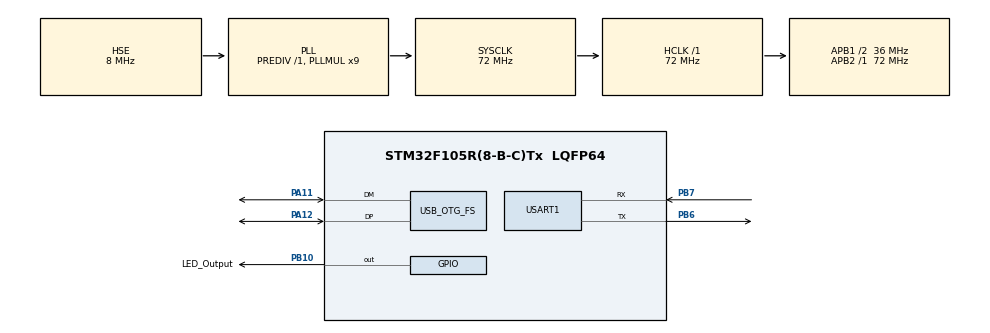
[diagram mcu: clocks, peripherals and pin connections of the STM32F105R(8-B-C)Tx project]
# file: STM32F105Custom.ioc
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Mcu.Family=STM32F1
Mcu.Name=STM32F105R(8-B-C)Tx
Mcu.Package=LQFP64
NVIC.OTG_FS_IRQn=true\:0\:0\:false\:false\:true\:true
NVIC.PriorityGroup=NVIC_PRIORITYGROUP_4
PA11.Mode=Device_Only
PA11.Signal=USB_OTG_FS_DM
PA12.Mode=Device_Only
PA12.Signal=USB_OTG_FS_DP
PB10.GPIO_Label=LED_Output
PB10.Signal=GPIO_Output
PB6.Mode=Asynchronous
PB6.Signal=USART1_TX
PB7.GPIO_PuPd=GPIO_PULLUP
PB7.Mode=Asynchronous
PB7.Signal=USART1_RX
PD0-OSC_IN.Mode=HSE-External-Oscillator
PD0-OSC_IN.Signal=RCC_OSC_IN
PD1-OSC_OUT.Mode=HSE-External-Oscillator
PD1-OSC_OUT.Signal=RCC_OSC_OUT
ProjectManager.HeapSize=0x200
ProjectManager.StackSize=0x400
ProjectManager.TargetToolchain=SW4STM32
RCC.AHBFreq_Value=72000000
RCC.APB1CLKDivider=RCC_HCLK_DIV2
RCC.APB1Freq_Value=36000000
RCC.APB1TimFreq_Value=72000000
RCC.APB2Freq_Value=72000000
RCC.APB2TimFreq_Value=72000000
RCC.HCLKFreq_Value=72000000
RCC.PLLMUL=RCC_PLL_MUL9
RCC.SYSCLKFreq_VALUE=72000000
RCC.SYSCLKSource=RCC_SYSCLKSOURCE_PLLCLK
RCC.USBFreq_Value=48000000
USART1.VirtualMode=VM_ASYNC
USB_OTG_FS.VirtualMode=Device_Only
VP_SYS_VS_ND.Mode=No_Debug
board=custom

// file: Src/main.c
/**
  ******************************************************************************
  * @file           : main.c
  * @brief          : Main program body
  ******************************************************************************
  ** This notice applies to any and all portions of this file
  * that are not between comment pairs USER CODE BEGIN and
  * USER CODE END. Other portions of this file, whether
  * inserted by the user or by software development tools
  * are owned by their respective copyright owners.
  *
  * COPYRIGHT(c) 2018 STMicroelectronics
  *
  * Redistribution and use in source and binary forms, with or without modification,
  * are permitted provided that the following conditions are met:
  *   1. Redistributions of source code must retain the above copyright notice,
  *      this list of conditions and the following disclaimer.
  *   2. Redistributions in binary form must reproduce the above copyright notice,
  *      this list of conditions and the following disclaimer in the documentation
  *      and/or other materials provided with the distribution.
  *   3. Neither the name of STMicroelectronics nor the names of its contributors
  *      may be used to endorse or promote products derived from this software
  *      without specific prior written permission.
  *
  * THIS SOFTWARE IS PROVIDED BY THE COPYRIGHT HOLDERS AND CONTRIBUTORS "AS IS"
  * AND ANY EXPRESS OR IMPLIED WARRANTIES, INCLUDING, BUT NOT LIMITED TO, THE
  * IMPLIED WARRANTIES OF MERCHANTABILITY AND FITNESS FOR A PARTICULAR PURPOSE ARE
  * DISCLAIMED. IN NO EVENT SHALL THE COPYRIGHT HOLDER OR CONTRIBUTORS BE LIABLE
  * FOR ANY DIRECT, INDIRECT, INCIDENTAL, SPECIAL, EXEMPLARY, OR CONSEQUENTIAL
  * DAMAGES (INCLUDING, BUT NOT LIMITED TO, PROCUREMENT OF SUBSTITUTE GOODS OR
  * SERVICES; LOSS OF USE, DATA, OR PROFITS; OR BUSINESS INTERRUPTION) HOWEVER
  * CAUSED AND ON ANY THEORY OF LIABILITY, WHETHER IN CONTRACT, STRICT LIABILITY,
  * OR TORT (INCLUDING NEGLIGENCE OR OTHERWISE) ARISING IN ANY WAY OUT OF THE USE
  * OF THIS SOFTWARE, EVEN IF ADVISED OF THE POSSIBILITY OF SUCH DAMAGE.
  *
  ******************************************************************************
  */
#include "main.h"
#include "stm32f1xx_hal.h"

/* USER CODE BEGIN Includes */
#include "usbd_def.h"
#include "usbd_desc.h"
#include "usbd_custom.h"
#include "usbd_conf.h"

/* USER CODE END Includes */

UART_HandleTypeDef huart1;

PCD_HandleTypeDef hpcd_USB_OTG_FS;

/* USER CODE BEGIN PV */
/* USB Device Core handle declaration. */
USBD_HandleTypeDef hUsbDeviceFS;
/* USER CODE END PV */

void SystemClock_Config(void);
static void MX_GPIO_Init(void);
static void MX_USB_OTG_FS_PCD_Init(void);
static void MX_USART1_UART_Init(void);

/* USER CODE BEGIN PFP */
/* Private function prototypes -----------------------------------------------*/

/* USER CODE END PFP */

int main(void)
{

  /* MCU Configuration----------------------------------------------------------*/

  /* Reset of all peripherals, Initializes the Flash interface and the Systick. */
  HAL_Init();

  /* Configure the system clock */
  SystemClock_Config();

  /* Initialize all configured peripherals */
  MX_GPIO_Init();
  MX_USART1_UART_Init();
  /* USER CODE BEGIN 2 */
  USBD_Init(&hUsbDeviceFS, &FS_Desc, DEVICE_FS);
  USBD_RegisterClass(&hUsbDeviceFS, &USBD_CLASS_VENDOR);
  USBD_Start(&hUsbDeviceFS);
  /* USER CODE END 2 */

  /* Infinite loop */
  while (1)
  {

  /* USER CODE BEGIN 3 */
#if 0
	  for (int i = 5; i < 20;) {
		  i++;
		  int delay_val = 2000/i;
		  for (int j = 0; j < i; j++) {
			  HAL_GPIO_WritePin(LED_Output_GPIO_Port, LED_Output_Pin, 1);
			  HAL_Delay(delay_val);
			  HAL_GPIO_WritePin(LED_Output_GPIO_Port, LED_Output_Pin, 0);
			  HAL_Delay(delay_val);
		  }
	  }
#endif
  }
  /* USER CODE END 3 */

}

void SystemClock_Config(void)
{

  RCC_OscInitTypeDef RCC_OscInitStruct;
  RCC_ClkInitTypeDef RCC_ClkInitStruct;
  RCC_PeriphCLKInitTypeDef PeriphClkInit;

    /**Initializes the CPU, AHB and APB busses clocks
    */
  RCC_OscInitStruct.OscillatorType = RCC_OSCILLATORTYPE_HSE;
  RCC_OscInitStruct.HSEState = RCC_HSE_ON;
  RCC_OscInitStruct.HSEPredivValue = RCC_HSE_PREDIV_DIV1;
  RCC_OscInitStruct.HSIState = RCC_HSI_ON;
  RCC_OscInitStruct.Prediv1Source = RCC_PREDIV1_SOURCE_HSE;
  RCC_OscInitStruct.PLL.PLLState = RCC_PLL_ON;
  RCC_OscInitStruct.PLL.PLLSource = RCC_PLLSOURCE_HSE;
  RCC_OscInitStruct.PLL.PLLMUL = RCC_PLL_MUL9;
  RCC_OscInitStruct.PLL2.PLL2State = RCC_PLL_NONE;
  if (HAL_RCC_OscConfig(&RCC_OscInitStruct) != HAL_OK)
  {
    _Error_Handler(__FILE__, __LINE__);
  }

    /**Initializes the CPU, AHB and APB busses clocks
    */
  RCC_ClkInitStruct.ClockType = RCC_CLOCKTYPE_HCLK|RCC_CLOCKTYPE_SYSCLK
                              |RCC_CLOCKTYPE_PCLK1|RCC_CLOCKTYPE_PCLK2;
  RCC_ClkInitStruct.SYSCLKSource = RCC_SYSCLKSOURCE_PLLCLK;
  RCC_ClkInitStruct.AHBCLKDivider = RCC_SYSCLK_DIV1;
  RCC_ClkInitStruct.APB1CLKDivider = RCC_HCLK_DIV2;
  RCC_ClkInitStruct.APB2CLKDivider = RCC_HCLK_DIV1;

  if (HAL_RCC_ClockConfig(&RCC_ClkInitStruct, FLASH_LATENCY_2) != HAL_OK)
  {
    _Error_Handler(__FILE__, __LINE__);
  }

  PeriphClkInit.PeriphClockSelection = RCC_PERIPHCLK_USB;
  PeriphClkInit.UsbClockSelection = RCC_USBCLKSOURCE_PLL_DIV3;
  if (HAL_RCCEx_PeriphCLKConfig(&PeriphClkInit) != HAL_OK)
  {
    _Error_Handler(__FILE__, __LINE__);
  }

    /**Configure the Systick interrupt time
    */
  HAL_SYSTICK_Config(HAL_RCC_GetHCLKFreq()/1000);

    /**Configure the Systick
    */
  HAL_SYSTICK_CLKSourceConfig(SYSTICK_CLKSOURCE_HCLK);

    /**Configure the Systick interrupt time
    */
  __HAL_RCC_PLLI2S_ENABLE();

  /* SysTick_IRQn interrupt configuration */
  HAL_NVIC_SetPriority(SysTick_IRQn, 0, 0);
}

/* USART1 init function */
static void MX_USART1_UART_Init(void)
{

  huart1.Instance = USART1;
  huart1.Init.BaudRate = 115200;
  huart1.Init.WordLength = UART_WORDLENGTH_8B;
  huart1.Init.StopBits = UART_STOPBITS_1;
  huart1.Init.Parity = UART_PARITY_NONE;
  huart1.Init.Mode = UART_MODE_TX_RX;
  huart1.Init.HwFlowCtl = UART_HWCONTROL_NONE;
  huart1.Init.OverSampling = UART_OVERSAMPLING_16;
  if (HAL_UART_Init(&huart1) != HAL_OK)
  {
    _Error_Handler(__FILE__, __LINE__);
  }

}

/* USB_OTG_FS init function */
static void MX_USB_OTG_FS_PCD_Init(void)
{

  hpcd_USB_OTG_FS.Instance = USB_OTG_FS;
  hpcd_USB_OTG_FS.Init.dev_endpoints = 4;
  hpcd_USB_OTG_FS.Init.speed = PCD_SPEED_FULL;
  hpcd_USB_OTG_FS.Init.ep0_mps = DEP0CTL_MPS_64;
  hpcd_USB_OTG_FS.Init.Sof_enable = DISABLE;
  hpcd_USB_OTG_FS.Init.low_power_enable = DISABLE;
  hpcd_USB_OTG_FS.Init.vbus_sensing_enable = DISABLE;
  if (HAL_PCD_Init(&hpcd_USB_OTG_FS) != HAL_OK)
  {
    _Error_Handler(__FILE__, __LINE__);
  }

}

/** Configure pins as
        * Analog
        * Input
        * Output
        * EVENT_OUT
        * EXTI
*/
static void MX_GPIO_Init(void)
{

  GPIO_InitTypeDef GPIO_InitStruct;

  /* GPIO Ports Clock Enable */
  __HAL_RCC_GPIOD_CLK_ENABLE();
  __HAL_RCC_GPIOB_CLK_ENABLE();
  __HAL_RCC_GPIOA_CLK_ENABLE();

  /*Configure GPIO pin Output Level */
  HAL_GPIO_WritePin(LED_Output_GPIO_Port, LED_Output_Pin, GPIO_PIN_RESET);

  /*Configure GPIO pin : LED_Output_Pin */
  GPIO_InitStruct.Pin = LED_Output_Pin;
  GPIO_InitStruct.Mode = GPIO_MODE_OUTPUT_PP;
  GPIO_InitStruct.Pull = GPIO_NOPULL;
  GPIO_InitStruct.Speed = GPIO_SPEED_FREQ_LOW;
  HAL_GPIO_Init(LED_Output_GPIO_Port, &GPIO_InitStruct);

}

void _Error_Handler(char *file, int line)
{
  while(1)
  {
  }
}

/************************ (C) COPYRIGHT STMicroelectronics *****END OF FILE****/
